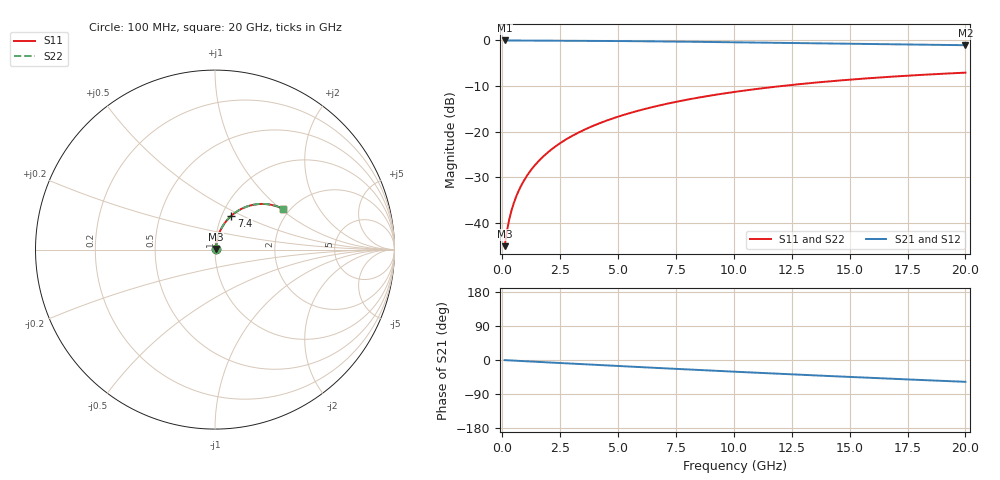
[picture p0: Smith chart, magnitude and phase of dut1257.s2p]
! Touchstone file exported from HFSS 2026.1.0
!  File:  C:/ffzhzh/LocalFiles/Ansys_Project_Files/temp_train_BSMRDL_1257_1783177430_18472.aedt
!  Generated:  11:05:13 PM Jul  4, 2026
!  Design:  BSMRDL
!  Project:  temp_train_BSMRDL_1257_1783177430_18472
! Variables:
!  h_bsmrdl = 3.14um
!  h_ox = 20um
!  h_rdl = 5um
!  h_sub = 80um
!  h_tmrdl = 5um
!  h_tsv = 80um
!  h_via = 3um
!  l_bsmrdl = 910.08um
!  l_sub = 1310.08um
!  l_tmrdl = 200um
!  m_sub = 200um
!  pitch = 47.92um
!  r_tsv = 6um
!  s_tmrdl = 10um
!  w_bsmrdl = 24.38um
!  w_sub = 500um
!  w_tmrdl = 12um
!  x_tsv_center1 = 206um
!  x_tsv_center2 = 1140.46um
!  x_tsv_center3 = 1352.46um
!  x_tsv_center4 = 2286.92um
!  x_tsv_center5 = 2498.92um
!  x_tsv_center6 = 3433.38um
# GHz S MA R 50.000000
! Terminal data exported
! Port[1] = BSM_RDL1_1_T1
! Port[2] = BSM_RDL1_1_T2
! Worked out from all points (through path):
!   200 points, 100 MHz to 20 GHz, reference 50 ohm
!   highest |S21| = -0.04 dB at 100 MHz (marker M1); lowest = -1.1 dB at 20 GHz (marker M2)
!   group delay of S21, straight-line fit = 8 ps
!   lowest |S11| = -45.1 dB at 100 MHz (marker M3), VSWR 1.01, Z = 50.4 + j0.338 ohm
!   |S11| at or under -10 dB: start of sweep to 12.09 GHz
!   |S22| runs from -45.1 to -7.1 dB; largest |S21 - S12| = 3.3e-15
!   S11 on the Smith chart (normalised r, x): 100 MHz: 1.01, +0.01; 7.4 GHz: 1.11, +0.44; 20 GHz: 1.85, +1.04
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0.1  0.005576 37.0  0.9956 -0.3  0.9956 -0.3  0.005576 37.0
! Gamma 0 0 0 0
! Port Impedance 50 0 50 0
0.2  0.008118 54.2  0.9953 -0.7  0.9953 -0.7  0.008118 54.2
0.3  0.01093 62.2  0.995 -1.0  0.995 -1.0  0.01093 62.2
0.4  0.01378 66.7  0.9948 -1.3  0.9948 -1.3  0.01378 66.7
0.5  0.01663 69.6  0.9945 -1.6  0.9945 -1.6  0.01663 69.6
0.6  0.01948 71.7  0.9943 -2.0  0.9943 -2.0  0.01948 71.7
0.8  0.02521 74.4  0.994 -2.6  0.994 -2.6  0.02521 74.4
1.1  0.0339 76.5  0.9936 -3.5  0.9936 -3.5  0.0339 76.5
1.3  0.03973 77.2  0.9933 -4.2  0.9933 -4.2  0.03973 77.2
1.6  0.04851 77.7  0.9928 -5.1  0.9928 -5.1  0.04851 77.7
2.1  0.06315 77.6  0.9917 -6.7  0.9917 -6.7  0.06315 77.6
2.7  0.08064 76.7  0.9902 -8.6  0.9902 -8.6  0.08063 76.7
3.5  0.1037 75.0  0.9876 -11.1  0.9876 -11.1  0.1037 75.0
4.2  0.1236 73.2  0.9849 -13.3  0.9849 -13.3  0.1236 73.2
5  0.1458 71.1  0.9814 -15.8  0.9814 -15.8  0.1458 71.1
6.8  0.1939 66.0  0.9719 -21.3  0.9719 -21.3  0.1939 66.0
7.4  0.2093 64.2  0.9683 -23.1  0.9683 -23.1  0.2092 64.3
8.7  0.2413 60.5  0.9601 -27.0  0.9601 -27.0  0.2412 60.6
10.1  0.2737 56.6  0.9507 -31.1  0.9507 -31.1  0.2737 56.6
13.4  0.3418 47.6  0.9273 -40.3  0.9273 -40.3  0.3418 47.6
16.7  0.3978 39.0  0.9042 -49.2  0.9042 -49.2  0.3978 39.0
20  0.4422 30.7  0.8833 -57.6  0.8833 -57.6  0.4421 30.8
